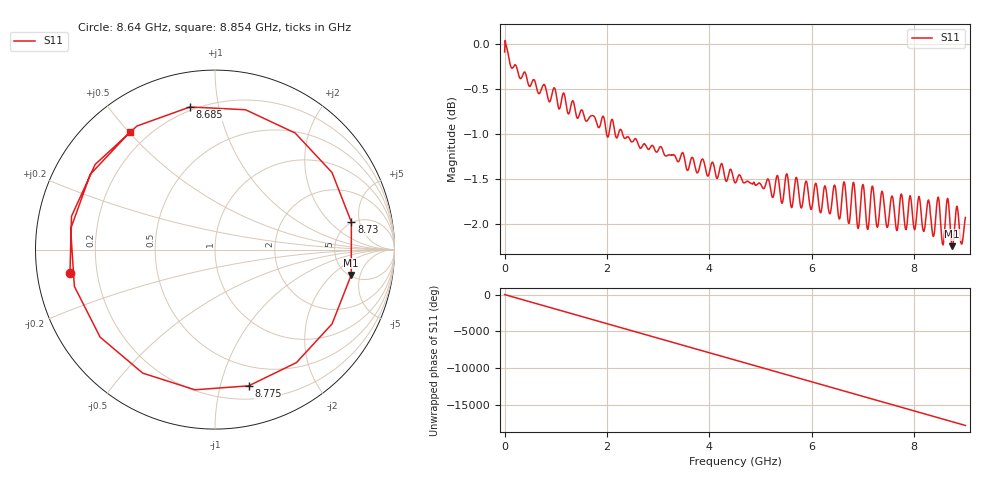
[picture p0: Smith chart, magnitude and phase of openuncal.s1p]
# Hz S RI R 50
! CMT, SC5090, 20109241, 21.3.2/2
! Date: 11/4/2021 12:44:39 PM
! Data: Format (Calibration Info)
! Freq	S11:Re/Im(--)
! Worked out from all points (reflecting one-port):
!   801 points, 1 MHz to 9 GHz, reference 50 ohm
!   lowest |S11| = -2.2 dB at 8.741 GHz (marker M1), VSWR 7.78, Z = 259 - j181 ohm
!   phase of S11 starts at -1 deg and turns -17798 deg over the sweep
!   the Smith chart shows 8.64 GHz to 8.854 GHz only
!   S11 on the Smith chart (normalised r, x): 8.64 GHz: 0.10, -0.08; 8.685 GHz: 0.18, +0.82; 8.73 GHz: 4.92, +3.77; 8.775 GHz: 0.31, -1.23; 8.854 GHz: 0.13, +0.50
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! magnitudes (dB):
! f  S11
! 1 MHz  -0.1
! 1.126 GHz  -0.6
! 2.251 GHz  -1.0
! 3.376 GHz  -1.3
! 4.5 GHz  -1.5
! 5.625 GHz  -1.8
! 6.447 GHz  -1.6
! 6.537 GHz  -1.9
! 6.627 GHz  -1.5
! 6.75 GHz  -1.9
! 6.818 GHz  -1.5
! 6.908 GHz  -2.0
! 6.998 GHz  -1.6
! 7.088 GHz  -2.1
! 7.189 GHz  -1.6
! 7.279 GHz  -2.0
! 7.875 GHz  -1.9
! 8.28 GHz  -1.7
! 8.37 GHz  -2.1
! 8.471 GHz  -1.7
! 8.561 GHz  -2.2
! 8.64 GHz  -1.7
! 8.685 GHz  -1.9
! 8.73 GHz  -2.2
! 8.741 GHz  -2.2
! 8.775 GHz  -2.1
! 8.854 GHz  -1.9
! 9 GHz  -1.9
